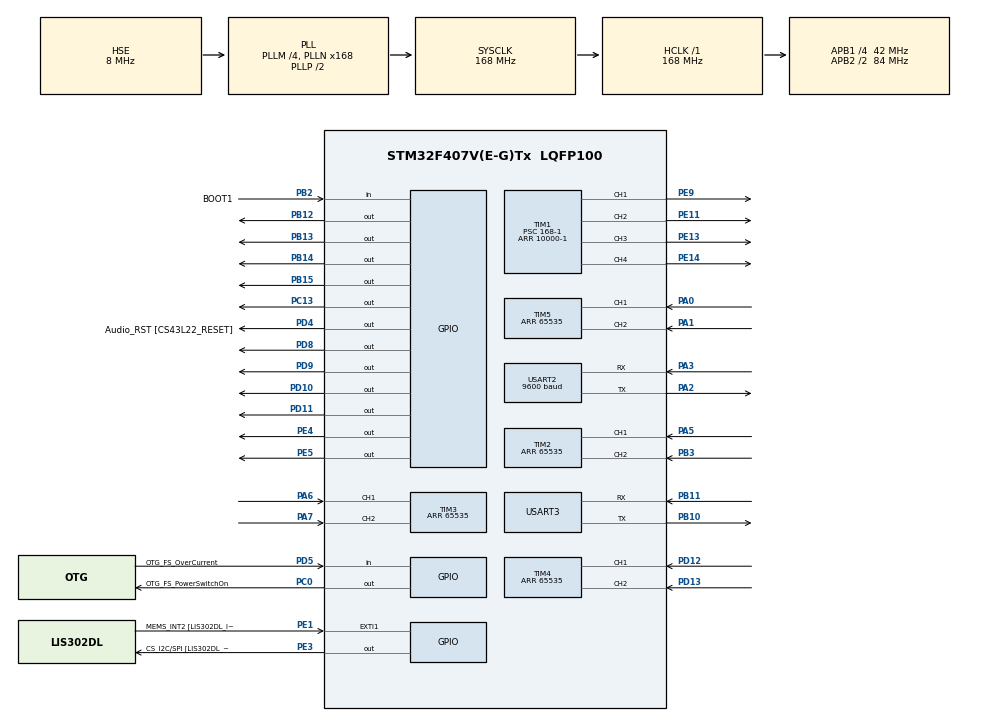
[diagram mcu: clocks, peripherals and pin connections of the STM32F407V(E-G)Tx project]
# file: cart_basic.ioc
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Mcu.Family=STM32F4
Mcu.Name=STM32F407V(E-G)Tx
Mcu.Package=LQFP100
NVIC.PriorityGroup=NVIC_PRIORITYGROUP_0
NVIC.TIM6_DAC_IRQn=true\:0\:0\:false\:true\:true\:2\:true\:true
NVIC.USART2_IRQn=true\:0\:0\:false\:true\:true\:1\:true\:true
PA0-WKUP.Signal=S_TIM5_CH1
PA1.Signal=S_TIM5_CH2
PA2.Mode=Asynchronous
PA2.Signal=USART2_TX
PA3.Mode=Asynchronous
PA3.Signal=USART2_RX
PA5.Signal=S_TIM2_CH1_ETR
PA6.GPIO_PuPd=GPIO_NOPULL
PA6.Signal=S_TIM3_CH1
PA7.GPIO_PuPd=GPIO_NOPULL
PA7.Signal=S_TIM3_CH2
PB10.Mode=Asynchronous
PB10.Signal=USART3_TX
PB11.Mode=Asynchronous
PB11.Signal=USART3_RX
PB12.Signal=GPIO_Output
PB13.Signal=GPIO_Output
PB14.Signal=GPIO_Output
PB15.Signal=GPIO_Output
PB2.GPIO_Label=BOOT1
PB2.GPIO_Mode=GPIO_MODE_INPUT
PB2.GPIO_PuPd=GPIO_NOPULL
PB2.Signal=GPIO_Input
PB3.Signal=S_TIM2_CH2
PC0.GPIO_Label=OTG_FS_PowerSwitchOn
PC0.GPIO_PuPd=GPIO_NOPULL
PC0.GPIO_Speed=GPIO_SPEED_FREQ_LOW
PC0.PinState=GPIO_PIN_SET
PC0.Signal=GPIO_Output
PC13-ANTI_TAMP.Signal=GPIO_Output
PC14-OSC32_IN.Mode=LSE-External-Oscillator
PC14-OSC32_IN.Signal=RCC_OSC32_IN
PC15-OSC32_OUT.Mode=LSE-External-Oscillator
PC15-OSC32_OUT.Signal=RCC_OSC32_OUT
PD10.Signal=GPIO_Output
PD11.Signal=GPIO_Output
PD12.GPIO_PuPd=GPIO_NOPULL
PD12.Signal=S_TIM4_CH1
PD13.GPIO_PuPd=GPIO_NOPULL
PD13.Signal=S_TIM4_CH2
PD4.GPIO_Label=Audio_RST [CS43L22_RESET]
PD4.GPIO_PuPd=GPIO_NOPULL
PD4.GPIO_Speed=GPIO_SPEED_FREQ_LOW
PD4.Signal=GPIO_Output
PD5.GPIO_Label=OTG_FS_OverCurrent
PD5.GPIO_Mode=GPIO_MODE_INPUT
PD5.GPIO_PuPd=GPIO_NOPULL
PD5.Signal=GPIO_Input
PD8.Signal=GPIO_Output
PD9.Signal=GPIO_Output
PE1.GPIO_Label=MEMS_INT2 [LIS302DL_INT2]
PE1.GPIO_ModeDefaultEXTI=GPIO_MODE_EVT_RISING
PE1.GPIO_PuPd=GPIO_NOPULL
PE1.Signal=GPXTI1
PE11.Signal=S_TIM1_CH2
PE13.Signal=S_TIM1_CH3
PE14.Signal=S_TIM1_CH4
PE3.GPIO_Label=CS_I2C/SPI [LIS302DL_CS_I2C/SPI]
PE3.GPIO_PuPd=GPIO_NOPULL
PE3.GPIO_Speed=GPIO_SPEED_FREQ_LOW
PE3.Signal=GPIO_Output
PE4.Signal=GPIO_Output
PE5.Signal=GPIO_Output
PE9.Signal=S_TIM1_CH1
PH0-OSC_IN.Mode=HSE-External-Oscillator
PH0-OSC_IN.Signal=RCC_OSC_IN
PH1-OSC_OUT.Mode=HSE-External-Oscillator
PH1-OSC_OUT.Signal=RCC_OSC_OUT
ProjectManager.HeapSize=0x200
ProjectManager.StackSize=0x400
ProjectManager.TargetToolchain=TrueSTUDIO
RCC.48MHZClocksFreq_Value=48000000
RCC.AHBFreq_Value=168000000
RCC.APB1CLKDivider=RCC_HCLK_DIV4
RCC.APB1Freq_Value=42000000
RCC.APB1TimFreq_Value=84000000
RCC.APB2CLKDivider=RCC_HCLK_DIV2
RCC.APB2Freq_Value=84000000
RCC.APB2TimFreq_Value=168000000
RCC.CortexFreq_Value=168000000
RCC.HCLKFreq_Value=168000000
RCC.HSE_VALUE=8000000
RCC.HSI_VALUE=16000000
RCC.PLLM=4
RCC.PLLN=168
RCC.PLLQ=7
RCC.PLLSourceVirtual=RCC_PLLSOURCE_HSE
RCC.SYSCLKFreq_VALUE=168000000
RCC.SYSCLKSource=RCC_SYSCLKSOURCE_PLLCLK
RCC.VCOOutputFreq_Value=336000000
SH.S_TIM1_CH1.0=TIM1_CH1,PWM Generation1 CH1
SH.S_TIM1_CH2.0=TIM1_CH2,PWM Generation2 CH2
SH.S_TIM1_CH3.0=TIM1_CH3,PWM Generation3 CH3
SH.S_TIM1_CH4.0=TIM1_CH4,PWM Generation4 CH4
SH.S_TIM2_CH1_ETR.0=TIM2_CH1,Encoder_Interface
SH.S_TIM2_CH2.0=TIM2_CH2,Encoder_Interface
SH.S_TIM3_CH1.0=TIM3_CH1,Encoder_Interface
SH.S_TIM3_CH2.0=TIM3_CH2,Encoder_Interface
SH.S_TIM4_CH1.0=TIM4_CH1,Encoder_Interface
SH.S_TIM4_CH2.0=TIM4_CH2,Encoder_Interface
SH.S_TIM5_CH1.0=TIM5_CH1,Encoder_Interface
SH.S_TIM5_CH2.0=TIM5_CH2,Encoder_Interface
TIM1.Channel-PWM\ Generation1\ CH1=TIM_CHANNEL_1
TIM1.Channel-PWM\ Generation2\ CH2=TIM_CHANNEL_2
TIM1.Channel-PWM\ Generation3\ CH3=TIM_CHANNEL_3
TIM1.Channel-PWM\ Generation4\ CH4=TIM_CHANNEL_4
TIM1.Period=10000-1
TIM1.Prescaler=168-1
TIM2.EncoderMode=TIM_ENCODERMODE_TI12
TIM2.Period=65535
TIM3.EncoderMode=TIM_ENCODERMODE_TI12
TIM3.Period=65535
TIM4.EncoderMode=TIM_ENCODERMODE_TI12
TIM4.Period=65535
TIM5.EncoderMode=TIM_ENCODERMODE_TI12
TIM5.Period=65535
TIM6.Period=999
TIM6.Prescaler=4199
USART2.BaudRate=9600
USART2.VirtualMode=VM_ASYNC
USART3.VirtualMode=VM_ASYNC
VP_TIM1_VS_ClockSourceINT.Mode=Internal
VP_TIM6_VS_ClockSourceINT.Mode=Enable_Timer
board=STM32F407G-DISC1

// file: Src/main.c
/* USER CODE BEGIN Header */
/**
  ******************************************************************************
  * @file           : main.c
  * @brief          : Main program body
  ******************************************************************************
  * @attention
  *
  * <h2><center>&copy; Copyright (c) 2020 STMicroelectronics.
  * All rights reserved.</center></h2>
  *
  * This software component is licensed by ST under BSD 3-Clause license,
  * the "License"; You may not use this file except in compliance with the
  * License. You may obtain a copy of the License at:
  *                        opensource.org/licenses/BSD-3-Clause
  *
  ******************************************************************************
  */
/* USER CODE END Header */

#include "main.h"
#include "tim.h"
#include "usart.h"
#include "gpio.h"

/* USER CODE BEGIN Includes */
#include <math.h>
#include <stdbool.h>
/* USER CODE END Includes */

/* USER CODE BEGIN PV */
uint8_t rx2_data = 0;

uint32_t desired_speed = 3000;
uint32_t MOTER_PWM[4] = {0};
uint32_t Kp = 1;
uint32_t encoder_cnt[4] = {0};
uint32_t encoder_speed[4] = {0};
int32_t error_speed[4] = {0};
int32_t PID_speed[4] = {0};
uint32_t old_PID_speed[4] = {3000, 3000, 3000, 3000};

/***********lidar************/
//response data
bool scan_start = false;
uint8_t rx3_start[7] = {0};
uint8_t rx3_data[5] = {0};
uint8_t Q = 0;
bool S = false;
uint16_t angle;
uint16_t d;
uint16_t distance[360] = {0};
int16_t avg_DIFF = 0;

//protocal
uint8_t scan_command[2] = {0xA5,0x20};
uint8_t stop_command[2] = {0xA5,0x25};
uint8_t soft_reboot[2] = {0xA5,0x40};
uint8_t scan_express[2] = {0xA5,0x82};
uint8_t scan_force[2] = {0xA5,0x21};
uint8_t device_info[2] = {0xA5,0x50};
uint8_t health_status[2] = {0xA5,0x52};
uint8_t sample_rate[2] = {0xA5,0x59};
uint8_t scan_response[7] = {0xa5, 0x5a, 0x5, 0x0, 0x0, 0x40, 0x81};
/* USER CODE END PV */

void SystemClock_Config(void);
static void MX_NVIC_Init(void);

/* USER CODE BEGIN 0 */
bool array_element_of_index_equal(uint8_t a[], uint8_t b[], uint8_t size) {
   uint8_t i;
   for(i=0; i<size; i++){
      if( a[i] != b[i] )
         return false;
   }
   return true;
}
int16_t array_avg_compare(uint16_t distance[]){

   uint32_t sum_R = 0;
   uint32_t sum_L = 0;
   uint8_t len_L = 0;
   uint8_t len_R = 0;
   uint16_t avg_R = 0;
   uint16_t avg_L = 0;
   int16_t avg_diff = 0;

   for(int i=0; i<90; i++){
      sum_R += distance[i];
      if(distance[i]!=0){
         len_R++;
      }
   }
   avg_R = sum_R/len_R;

   for(int i=270; i<360; i++){
      sum_L += distance[i];
      if(distance[i]!=0){
         len_L++;
      }
   }
   avg_L = sum_L/len_L;

   avg_diff = avg_R - avg_L;

   return avg_diff;
}
void HAL_TIM_PeriodElapsedCallback(TIM_HandleTypeDef *htim)	//Timer interrupt every 20ms
{
	if(htim->Instance == TIM6){

		//HAL_GPIO_WritePin(GPIOC,GPIO_PIN_13,GPIO_PIN_SET);
		encoder_cnt[0] = TIM2->CNT;
		TIM2->CNT=0;

		encoder_cnt[1] = TIM3->CNT;
		TIM3->CNT=0;

		encoder_cnt[2] = TIM4->CNT;
		TIM4->CNT=0;

		encoder_cnt[3] = TIM5->CNT;
		TIM5->CNT=0;

		encoder_speed[0] = 164.18 * exp(0.0112*encoder_cnt[0]);
		encoder_speed[1] = 164.18 * exp(0.0112*encoder_cnt[1]);
		encoder_speed[2] = 164.18 * exp(0.0112*encoder_cnt[2]);
		encoder_speed[3] = 164.18 * exp(0.0112*encoder_cnt[3]);

		error_speed[0] = desired_speed - encoder_speed[0];
		error_speed[1] = desired_speed - encoder_speed[1];
		error_speed[2] = desired_speed - encoder_speed[2];
		error_speed[3] = desired_speed - encoder_speed[3];

		PID_speed[0] = old_PID_speed[0] + Kp*error_speed[0];
		PID_speed[1] = old_PID_speed[1] + Kp*error_speed[1];
		PID_speed[2] = old_PID_speed[2] + Kp*error_speed[2];
		PID_speed[3] = old_PID_speed[3] + Kp*error_speed[3];

		old_PID_speed[0] = PID_speed[0];
		old_PID_speed[1] = PID_speed[1];
		old_PID_speed[2] = PID_speed[2];
		old_PID_speed[3] = PID_speed[3];
	}
}

/* USER CODE END 0 */

int main(void)
{

  /* MCU Configuration--------------------------------------------------------*/

  /* Reset of all peripherals, Initializes the Flash interface and the Systick. */
  HAL_Init();

  /* Configure the system clock */
  SystemClock_Config();

  /* Initialize all configured peripherals */
  MX_GPIO_Init();
  MX_TIM1_Init();
  MX_TIM2_Init();
  MX_TIM3_Init();
  MX_TIM4_Init();
  MX_TIM6_Init();
  MX_USART2_UART_Init();
  MX_USART3_UART_Init();
  MX_TIM5_Init();

  /* Initialize interrupts */
  MX_NVIC_Init();
  /* USER CODE BEGIN 2 */

  HAL_Delay(3000);

  //Initialize for motor PWM
  HAL_TIM_PWM_Start(&htim1, TIM_CHANNEL_1);
  HAL_TIM_PWM_Start(&htim1, TIM_CHANNEL_2);
  HAL_TIM_PWM_Start(&htim1, TIM_CHANNEL_3);
  HAL_TIM_PWM_Start(&htim1, TIM_CHANNEL_4);

  //Initialize for motor direction
  HAL_GPIO_WritePin(GPIOB, GPIO_PIN_12, SET);
  HAL_GPIO_WritePin(GPIOB, GPIO_PIN_13, RESET);

  HAL_GPIO_WritePin(GPIOB, GPIO_PIN_14, SET);
  HAL_GPIO_WritePin(GPIOB, GPIO_PIN_15, RESET);

  HAL_GPIO_WritePin(GPIOD, GPIO_PIN_8, SET);
  HAL_GPIO_WritePin(GPIOD, GPIO_PIN_9, RESET);

  HAL_GPIO_WritePin(GPIOD, GPIO_PIN_10, SET);
  HAL_GPIO_WritePin(GPIOD, GPIO_PIN_11, RESET);

  //Initialize for encoder count value
  TIM2->CNT = 0;
  TIM3->CNT = 0;
  TIM4->CNT = 0;
  TIM5->CNT = 0;

  //Initialize for Encoder
  HAL_TIM_Encoder_Start(&htim2, TIM_CHANNEL_ALL);
  HAL_TIM_Encoder_Start(&htim3, TIM_CHANNEL_ALL);
  HAL_TIM_Encoder_Start(&htim4, TIM_CHANNEL_ALL);
  HAL_TIM_Encoder_Start(&htim5, TIM_CHANNEL_ALL);

  //Initialize for timer interrupt initialization for Encoder (50ms)
  HAL_TIM_Base_Start_IT(&htim6);

  //LIDAR_scan_start
  //HAL_UART_Transmit(&huart3, &scan_command, 2, 100);

  //robotArm to Cart
  HAL_UART_Receive_IT(&huart2,&rx2_data,1);

  /* USER CODE END 2 */

  /* Infinite loop */
  /* USER CODE BEGIN WHILE */
  while (1)
  {

	TIM1->CCR1 = 0;	//LF
	TIM1->CCR2 = 0;	//RF
	TIM1->CCR3 = 0;	// LB
	TIM1->CCR4 = 0;	// RB

	if(rx2_data == 1){
		TIM1->CCR1 = 0;
		TIM1->CCR2 = 0;
		TIM1->CCR3 = 0;
		TIM1->CCR4 = 0;

		HAL_GPIO_WritePin(GPIOB, GPIO_PIN_12, SET);
		HAL_GPIO_WritePin(GPIOB, GPIO_PIN_13, RESET);

		HAL_GPIO_WritePin(GPIOB, GPIO_PIN_14, SET);
		HAL_GPIO_WritePin(GPIOB, GPIO_PIN_15, RESET);

		HAL_GPIO_WritePin(GPIOD, GPIO_PIN_8, SET);
		HAL_GPIO_WritePin(GPIOD, GPIO_PIN_9, RESET);

		HAL_GPIO_WritePin(GPIOD, GPIO_PIN_10, SET);
		HAL_GPIO_WritePin(GPIOD, GPIO_PIN_11, RESET);

	}else if(rx2_data == 2){
		TIM1->CCR1 = 8000;
		TIM1->CCR2 = 8000;
		TIM1->CCR3 = 8000;
		TIM1->CCR4 = 8000;
	}else if(rx2_data == 3){
		//reverse
		HAL_GPIO_WritePin(GPIOB, GPIO_PIN_12, RESET);
		HAL_GPIO_WritePin(GPIOB, GPIO_PIN_13, SET);

		HAL_GPIO_WritePin(GPIOB, GPIO_PIN_14, RESET);
		HAL_GPIO_WritePin(GPIOB, GPIO_PIN_15, SET);

		HAL_GPIO_WritePin(GPIOD, GPIO_PIN_8, RESET);
		HAL_GPIO_WritePin(GPIOD, GPIO_PIN_9, SET);

		HAL_GPIO_WritePin(GPIOD, GPIO_PIN_10, RESET);
		HAL_GPIO_WritePin(GPIOD, GPIO_PIN_11, SET);
		TIM1->CCR1 = 8000;
		TIM1->CCR2 = 8000;
		TIM1->CCR3 = 8000;
		TIM1->CCR4 = 8000;
		HAL_Delay(1000);
	}
	// rx2_data = 0;

    /* USER CODE END WHILE */

  }
}

void SystemClock_Config(void)
{
  RCC_OscInitTypeDef RCC_OscInitStruct = {0};
  RCC_ClkInitTypeDef RCC_ClkInitStruct = {0};

  /** Configure the main internal regulator output voltage
  */
  __HAL_RCC_PWR_CLK_ENABLE();
  __HAL_PWR_VOLTAGESCALING_CONFIG(PWR_REGULATOR_VOLTAGE_SCALE1);
  /** Initializes the CPU, AHB and APB busses clocks
  */
  RCC_OscInitStruct.OscillatorType = RCC_OSCILLATORTYPE_HSE;
  RCC_OscInitStruct.HSEState = RCC_HSE_ON;
  RCC_OscInitStruct.PLL.PLLState = RCC_PLL_ON;
  RCC_OscInitStruct.PLL.PLLSource = RCC_PLLSOURCE_HSE;
  RCC_OscInitStruct.PLL.PLLM = 4;
  RCC_OscInitStruct.PLL.PLLN = 168;
  RCC_OscInitStruct.PLL.PLLP = RCC_PLLP_DIV2;
  RCC_OscInitStruct.PLL.PLLQ = 7;
  if (HAL_RCC_OscConfig(&RCC_OscInitStruct) != HAL_OK)
  {
    Error_Handler();
  }
  /** Initializes the CPU, AHB and APB busses clocks
  */
  RCC_ClkInitStruct.ClockType = RCC_CLOCKTYPE_HCLK|RCC_CLOCKTYPE_SYSCLK
                              |RCC_CLOCKTYPE_PCLK1|RCC_CLOCKTYPE_PCLK2;
  RCC_ClkInitStruct.SYSCLKSource = RCC_SYSCLKSOURCE_PLLCLK;
  RCC_ClkInitStruct.AHBCLKDivider = RCC_SYSCLK_DIV1;
  RCC_ClkInitStruct.APB1CLKDivider = RCC_HCLK_DIV4;
  RCC_ClkInitStruct.APB2CLKDivider = RCC_HCLK_DIV2;

  if (HAL_RCC_ClockConfig(&RCC_ClkInitStruct, FLASH_LATENCY_5) != HAL_OK)
  {
    Error_Handler();
  }
}

/**
  * @brief NVIC Configuration.
  * @retval None
  */
static void MX_NVIC_Init(void)
{
  /* USART2_IRQn interrupt configuration */
  HAL_NVIC_SetPriority(USART2_IRQn, 0, 0);
  HAL_NVIC_EnableIRQ(USART2_IRQn);
  /* TIM6_DAC_IRQn interrupt configuration */
  HAL_NVIC_SetPriority(TIM6_DAC_IRQn, 0, 0);
  HAL_NVIC_EnableIRQ(TIM6_DAC_IRQn);
}

/* USER CODE BEGIN 4 */
void HAL_UART_RxCpltCallback(UART_HandleTypeDef *huart)
{
  if(huart->Instance==USART2){
     HAL_UART_Receive_IT(&huart2,&rx2_data,1);
  }
}
/* USER CODE END 4 */

void Error_Handler(void)
{
}

/************************ (C) COPYRIGHT STMicroelectronics *****END OF FILE****/
